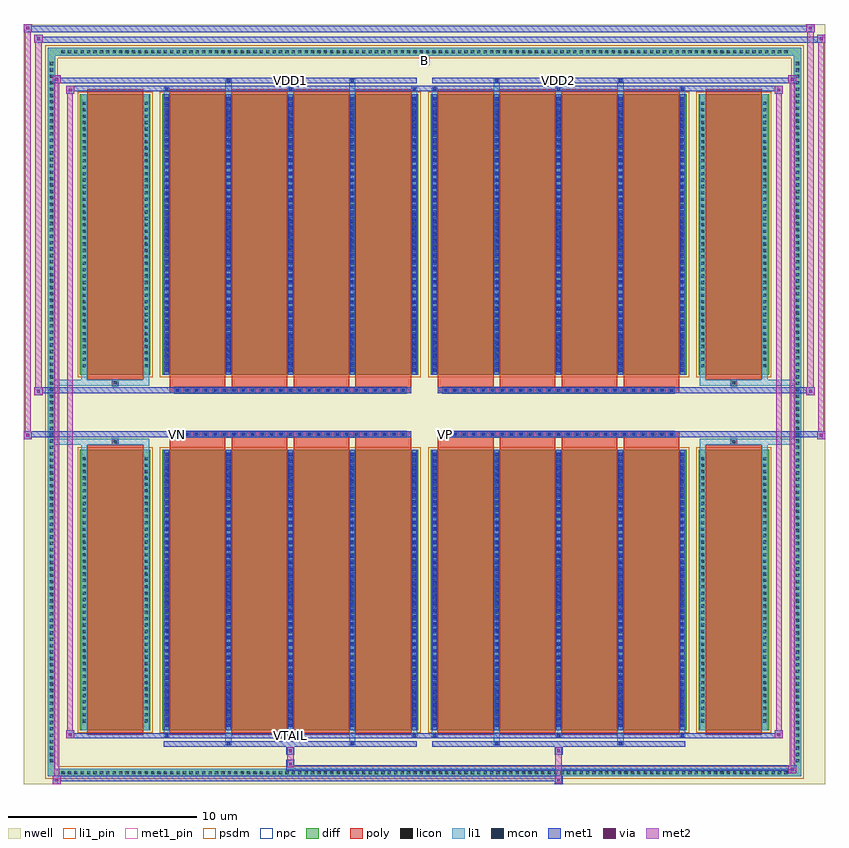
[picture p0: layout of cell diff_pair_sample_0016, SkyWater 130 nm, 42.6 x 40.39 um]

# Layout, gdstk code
import gdstk
lib = gdstk.Library(unit=1e-6, precision=5e-09)
def R(c, l, rs):  # rectangles x0, y0, x1, y1
    for r in rs: c.add(gdstk.rectangle(r[:2], r[2:], *l))
def A(c, l, x, y, w, h, nx, ny, dx, dy):  # array of equal rectangles
    R(c, l, [(x+i*dx, y+j*dy, x+i*dx+w, y+j*dy+h) for i in range(nx) for j in range(ny)])
def P(c, l, *ps):  # polygons
    for p in ps: c.add(gdstk.Polygon(p, *l))
nwell = (64, 20)
diff = (65, 20)
poly = (66, 20)
licon = (66, 44)
li1_pin = (67, 16)
li1 = (67, 20)
mcon = (67, 44)
met1_pin = (68, 16)
met1 = (68, 20)
via = (68, 44)
met2 = (69, 20)
psdm = (94, 20)
npc = (95, 20)

diff_pair_sample_0016 = lib.new_cell('diff_pair_sample_0016')
R(diff_pair_sample_0016, nwell, [(-21.3,-19.76,21.3,20.63), (-18.62,-17.95,-0.01,-0.805), (0.01,-17.95,18.62,-0.805), (-18.62,0.805,-0.01,17.95), (0.01,0.805,18.62,17.95)])
A(diff_pair_sample_0016, diff, -19.415, -19.36, 0.41, 0.41, 114, 2, 0.34, 38.31)
A(diff_pair_sample_0016, diff, -20.03, -18.735, 0.41, 0.41, 1, 110, 0, 0.34)
A(diff_pair_sample_0016, diff, 19.62, -18.735, 0.41, 0.41, 1, 110, 0, 0.34)
R(diff_pair_sample_0016, diff, [(-19.415,-19.36,19.415,-18.95), (-20.03,-18.735,-19.62,18.735), (19.62,-18.735,20.03,18.735), (-18.31,-16.905,-14.57,-1.985), (-13.93,-16.905,-0.32,-1.985), (0.32,-16.905,13.93,-1.985), (14.57,-16.905,18.31,-1.985), (-18.31,1.985,-14.57,16.905), (-13.93,1.985,-0.32,16.905), (0.32,1.985,13.93,16.905), (14.57,1.985,18.31,16.905), (-19.415,18.95,19.415,19.36)])
P(diff_pair_sample_0016, diff, [(20.03,19.36),(-20.03,19.36),(-20.03,-18.95),(-19.62,-18.95),(-19.62,18.95),(19.62,18.95),(19.62,-18.95),(-19.62,-18.95),(-20.03,-18.95),(-20.03,-19.36),(20.03,-19.36)])
A(diff_pair_sample_0016, poly, -13.54, -17.155, 2.96, 15.42, 4, 2, 3.29, 18.89)
A(diff_pair_sample_0016, poly, 0.71, -17.155, 2.96, 15.42, 4, 2, 3.29, 18.89)
A(diff_pair_sample_0016, poly, -13.54, -1.735, 2.96, 0.4, 4, 2, 3.29, 3.07)
A(diff_pair_sample_0016, poly, 0.71, -1.735, 2.96, 0.4, 4, 2, 3.29, 3.07)
A(diff_pair_sample_0016, poly, -13.29, -1.335, 0.33, 0.33, 25, 2, 0.5, 2.34)
A(diff_pair_sample_0016, poly, 0.96, -1.335, 0.33, 0.33, 25, 2, 0.5, 2.34)
R(diff_pair_sample_0016, poly, [(-17.92,-17.155,-14.96,-1.735), (14.96,-17.155,17.92,-1.735), (-16.605,-1.735,-16.275,-1.405), (-16.605,-1.735,-16.275,-1.405), (16.275,-1.735,16.605,-1.405), (16.275,-1.735,16.605,-1.405), (-13.54,-1.335,-0.71,-1.005), (0.71,-1.335,13.54,-1.005), (-13.54,1.005,-0.71,1.335), (0.71,1.005,13.54,1.335), (-16.605,1.405,-16.275,1.735), (-16.605,1.405,-16.275,1.735), (16.275,1.405,16.605,1.735), (16.275,1.405,16.605,1.735), (-17.92,1.735,-14.96,17.155), (14.96,1.735,17.92,17.155)])
A(diff_pair_sample_0016, licon, -19.295, -19.24, 0.17, 0.17, 114, 2, 0.34, 38.31)
A(diff_pair_sample_0016, licon, -19.91, -18.615, 0.17, 0.17, 1, 110, 0, 0.34)
A(diff_pair_sample_0016, licon, 19.74, -18.615, 0.17, 0.17, 1, 110, 0, 0.34)
A(diff_pair_sample_0016, licon, -18.17, -16.5, 0.17, 0.17, 1, 42, 0, 0.34)
A(diff_pair_sample_0016, licon, -14.88, -16.5, 0.17, 0.17, 1, 42, 0, 0.34)
A(diff_pair_sample_0016, licon, -13.79, -16.5, 0.17, 0.17, 5, 42, 3.29, 0.34)
A(diff_pair_sample_0016, licon, 0.46, -16.5, 0.17, 0.17, 5, 42, 3.29, 0.34)
A(diff_pair_sample_0016, licon, 14.71, -16.5, 0.17, 0.17, 1, 42, 0, 0.34)
A(diff_pair_sample_0016, licon, 18, -16.5, 0.17, 0.17, 1, 42, 0, 0.34)
A(diff_pair_sample_0016, licon, -13.21, -1.255, 0.17, 0.17, 25, 2, 0.5, 2.34)
A(diff_pair_sample_0016, licon, 1.04, -1.255, 0.17, 0.17, 25, 2, 0.5, 2.34)
A(diff_pair_sample_0016, licon, -18.17, 2.39, 0.17, 0.17, 1, 42, 0, 0.34)
A(diff_pair_sample_0016, licon, -14.88, 2.39, 0.17, 0.17, 1, 42, 0, 0.34)
A(diff_pair_sample_0016, licon, -13.79, 2.39, 0.17, 0.17, 5, 42, 3.29, 0.34)
A(diff_pair_sample_0016, licon, 0.46, 2.39, 0.17, 0.17, 5, 42, 3.29, 0.34)
A(diff_pair_sample_0016, licon, 14.71, 2.39, 0.17, 0.17, 1, 42, 0, 0.34)
A(diff_pair_sample_0016, licon, 18, 2.39, 0.17, 0.17, 1, 42, 0, 0.34)
R(diff_pair_sample_0016, licon, [(-16.525,-1.655,-16.355,-1.485), (16.355,-1.655,16.525,-1.485), (-16.525,1.485,-16.355,1.655), (16.355,1.485,16.525,1.655)])
R(diff_pair_sample_0016, li1_pin, [(-0.25,18.45,0.25,18.95)])
A(diff_pair_sample_0016, li1, -19.375, -19.32, 0.33, 0.33, 114, 2, 0.34, 38.31)
A(diff_pair_sample_0016, li1, -19.99, -18.695, 0.33, 0.33, 1, 110, 0, 0.34)
A(diff_pair_sample_0016, li1, 19.66, -18.695, 0.33, 0.33, 1, 110, 0, 0.34)
A(diff_pair_sample_0016, li1, -13.87, -17.28, 0.33, 0.375, 3, 2, 6.58, 34.185)
A(diff_pair_sample_0016, li1, -13.79, -17.28, 0.17, 0.17, 3, 2, 6.58, 34.39)
A(diff_pair_sample_0016, li1, 0.38, -17.28, 0.33, 0.375, 3, 2, 6.58, 34.185)
A(diff_pair_sample_0016, li1, 0.46, -17.28, 0.17, 0.17, 3, 2, 6.58, 34.39)
A(diff_pair_sample_0016, li1, -13.87, -16.905, 0.33, 14.92, 5, 2, 3.29, 18.89)
A(diff_pair_sample_0016, li1, 0.38, -16.905, 0.33, 14.92, 5, 2, 3.29, 18.89)
A(diff_pair_sample_0016, li1, -13.79, -16.73, 0.17, 0.17, 5, 41, 3.29, 0.36)
A(diff_pair_sample_0016, li1, -13.79, -16.73, 0.17, 14.57, 5, 2, 3.29, 18.89)
A(diff_pair_sample_0016, li1, 0.46, -16.73, 0.17, 0.17, 5, 41, 3.29, 0.36)
A(diff_pair_sample_0016, li1, 0.46, -16.73, 0.17, 14.57, 5, 2, 3.29, 18.89)
A(diff_pair_sample_0016, li1, -18.25, -16.58, 0.33, 0.33, 1, 42, 0, 0.34)
A(diff_pair_sample_0016, li1, -14.96, -16.58, 0.33, 0.33, 1, 42, 0, 0.34)
A(diff_pair_sample_0016, li1, -13.87, -16.58, 0.33, 0.33, 5, 42, 3.29, 0.34)
A(diff_pair_sample_0016, li1, 0.38, -16.58, 0.33, 0.33, 5, 42, 3.29, 0.34)
A(diff_pair_sample_0016, li1, 14.63, -16.58, 0.33, 0.33, 1, 42, 0, 0.34)
A(diff_pair_sample_0016, li1, 17.92, -16.58, 0.33, 0.33, 1, 42, 0, 0.34)
A(diff_pair_sample_0016, li1, -13.29, -1.335, 0.33, 0.33, 25, 2, 0.5, 2.34)
A(diff_pair_sample_0016, li1, 0.96, -1.335, 0.33, 0.33, 25, 2, 0.5, 2.34)
A(diff_pair_sample_0016, li1, -13.79, 2.16, 0.17, 0.17, 5, 41, 3.29, 0.36)
A(diff_pair_sample_0016, li1, 0.46, 2.16, 0.17, 0.17, 5, 41, 3.29, 0.36)
A(diff_pair_sample_0016, li1, -18.25, 2.31, 0.33, 0.33, 1, 42, 0, 0.34)
A(diff_pair_sample_0016, li1, -14.96, 2.31, 0.33, 0.33, 1, 42, 0, 0.34)
A(diff_pair_sample_0016, li1, -13.87, 2.31, 0.33, 0.33, 5, 42, 3.29, 0.34)
A(diff_pair_sample_0016, li1, 0.38, 2.31, 0.33, 0.33, 5, 42, 3.29, 0.34)
A(diff_pair_sample_0016, li1, 14.63, 2.31, 0.33, 0.33, 1, 42, 0, 0.34)
A(diff_pair_sample_0016, li1, 17.92, 2.31, 0.33, 0.33, 1, 42, 0, 0.34)
R(diff_pair_sample_0016, li1, [(-20.03,-19.36,-19.62,-18.95), (-20.03,-19.36,-19.62,-18.95), (-19.62,-19.36,19.62,-18.95), (19.62,-19.36,20.03,-18.95), (19.62,-19.36,20.03,-18.95), (-20.03,-18.95,-19.62,18.95), (19.62,-18.95,20.03,18.95), (-10.58,-17.71,-10.25,-16.905), (-10.5,-17.71,-10.33,-17.54), (-4,-17.71,-3.67,-16.905), (-3.92,-17.71,-3.75,-17.54), (3.67,-17.71,4,-16.905), (3.75,-17.71,3.92,-17.54), (10.25,-17.71,10.58,-16.905), (10.33,-17.71,10.5,-17.54), (-18.25,-16.905,-17.92,-1.985), (-14.96,-16.905,-14.63,-1.985), (14.63,-16.905,14.96,-1.985), (17.92,-16.905,18.25,-1.985), (-18.25,-1.985,-17.92,-1.405), (-14.96,-1.985,-14.63,-1.405), (14.63,-1.985,14.96,-1.405), (17.92,-1.985,18.25,-1.405), (-20.03,-1.735,-16.605,-1.405), (-18.25,-1.735,-16.605,-1.405), (-16.605,-1.735,-16.275,-1.405), (-16.275,-1.735,-14.63,-1.405), (14.63,-1.735,16.275,-1.405), (16.275,-1.735,16.605,-1.405), (16.275,-1.735,20.03,-1.405), (16.605,-1.735,18.25,-1.405), (-20.03,1.405,-16.605,1.735), (-18.25,1.405,-16.605,1.735), (-18.25,1.405,-17.92,1.985), (-16.605,1.405,-16.275,1.735), (-16.275,1.405,-14.63,1.735), (-14.96,1.405,-14.63,1.985), (14.63,1.405,16.275,1.735), (14.63,1.405,14.96,1.985), (16.275,1.405,16.605,1.735), (16.275,1.405,20.03,1.735), (16.605,1.405,18.25,1.735), (17.92,1.405,18.25,1.985), (-18.25,1.985,-17.92,16.905), (-14.96,1.985,-14.63,16.905), (14.63,1.985,14.96,16.905), (17.92,1.985,18.25,16.905), (-10.58,16.905,-10.25,17.71), (-4,16.905,-3.67,17.71), (3.67,16.905,4,17.71), (10.25,16.905,10.58,17.71), (-10.5,17.54,-10.33,17.71), (-3.92,17.54,-3.75,17.71), (3.75,17.54,3.92,17.71), (10.33,17.54,10.5,17.71), (-20.03,18.95,-19.62,19.36), (-20.03,18.95,-19.62,19.36), (-19.62,18.95,19.62,19.36), (19.62,18.95,20.03,19.36), (19.62,18.95,20.03,19.36)])
A(diff_pair_sample_0016, mcon, -13.79, -17.28, 0.17, 0.17, 3, 2, 6.58, 34.39)
A(diff_pair_sample_0016, mcon, 0.46, -17.28, 0.17, 0.17, 3, 2, 6.58, 34.39)
A(diff_pair_sample_0016, mcon, -13.79, -16.73, 0.17, 0.17, 5, 41, 3.29, 0.36)
A(diff_pair_sample_0016, mcon, 0.46, -16.73, 0.17, 0.17, 5, 41, 3.29, 0.36)
A(diff_pair_sample_0016, mcon, -13.21, -1.255, 0.17, 0.17, 25, 2, 0.5, 2.34)
A(diff_pair_sample_0016, mcon, 1.04, -1.255, 0.17, 0.17, 25, 2, 0.5, 2.34)
A(diff_pair_sample_0016, mcon, -13.79, 2.16, 0.17, 0.17, 5, 41, 3.29, 0.36)
A(diff_pair_sample_0016, mcon, 0.46, 2.16, 0.17, 0.17, 5, 41, 3.29, 0.36)
R(diff_pair_sample_0016, mcon, [(-10.5,-17.71,-10.33,-17.54), (-3.92,-17.71,-3.75,-17.54), (3.75,-17.71,3.92,-17.54), (10.33,-17.71,10.5,-17.54), (-10.5,17.54,-10.33,17.71), (-3.92,17.54,-3.75,17.71), (3.75,17.54,3.92,17.71), (10.33,17.54,10.5,17.71)])
R(diff_pair_sample_0016, met1_pin, [(-7.26,-17.32,-6.99,-17.05), (-13.26,-1.295,-12.99,-1.025), (0.99,-1.295,1.26,-1.025), (-7.26,17.5,-6.99,17.77), (6.99,17.5,7.26,17.77)])
A(diff_pair_sample_0016, met1, -13.85, -17.34, 0.29, 0.29, 3, 2, 6.58, 34.39)
A(diff_pair_sample_0016, met1, 0.4, -17.34, 0.29, 0.29, 3, 2, 6.58, 34.39)
A(diff_pair_sample_0016, met1, -13.85, -16.905, 0.29, 14.92, 5, 2, 3.29, 18.89)
A(diff_pair_sample_0016, met1, 0.4, -16.905, 0.29, 14.92, 5, 2, 3.29, 18.89)
A(diff_pair_sample_0016, met1, -13.85, -16.79, 0.29, 0.29, 5, 41, 3.29, 0.36)
A(diff_pair_sample_0016, met1, 0.4, -16.79, 0.29, 0.29, 5, 41, 3.29, 0.36)
A(diff_pair_sample_0016, met1, -13.27, -1.315, 0.29, 0.29, 25, 2, 0.5, 2.34)
A(diff_pair_sample_0016, met1, 0.98, -1.315, 0.29, 0.29, 25, 2, 0.5, 2.34)
A(diff_pair_sample_0016, met1, -13.85, 2.1, 0.29, 0.29, 5, 41, 3.29, 0.36)
A(diff_pair_sample_0016, met1, 0.4, 2.1, 0.29, 0.29, 5, 41, 3.29, 0.36)
R(diff_pair_sample_0016, met1, [(-19.76,-19.76,-19.33,-19.33), (6.91,-19.76,7.34,-19.33), (-19.76,-19.62,7.34,-19.33), (19.33,-19.19,19.76,-18.76), (-7.34,-19.05,19.76,-18.76), (-7.34,-18.91,-6.91,-18.48), (-7.34,-18.2,-6.91,-17.77), (6.91,-18.2,7.34,-17.77), (-13.85,-17.77,-0.4,-17.48), (-10.56,-17.77,-10.27,-17.48), (-3.98,-17.77,-3.69,-17.48), (0.4,-17.77,13.85,-17.48), (3.69,-17.77,3.98,-17.48), (10.27,-17.77,10.56,-17.48), (-19.05,-17.34,-18.62,-16.91), (-19.05,-17.34,-13.85,-17.05), (-13.85,-17.34,-0.4,-17.05), (-0.4,-17.34,0.4,-17.05), (0.4,-17.34,13.85,-17.05), (13.85,-17.34,19.05,-17.05), (18.62,-17.34,19.05,-16.91), (-21.3,-1.435,-20.87,-1.005), (20.87,-1.435,21.3,-1.005), (-21.3,-1.335,-0.71,-1.005), (-13.54,-1.335,-0.71,-1.005), (0.71,-1.335,13.54,-1.005), (0.71,-1.335,21.3,-1.005), (-20.73,0.905,-20.3,1.335), (20.3,0.905,20.73,1.335), (-20.73,1.005,-13.54,1.335), (-13.54,1.005,-0.71,1.335), (0.71,1.005,13.54,1.335), (13.54,1.005,20.73,1.335), (-19.05,16.91,-18.62,17.34), (18.62,16.91,19.05,17.34), (-19.05,17.05,-13.85,17.34), (-13.85,17.05,-0.4,17.34), (-0.4,17.05,0.4,17.34), (0.4,17.05,13.85,17.34), (13.85,17.05,19.05,17.34), (-19.76,17.48,-19.33,17.91), (-19.76,17.48,-13.85,17.77), (-13.85,17.48,-0.4,17.77), (-10.56,17.48,-10.27,17.77), (-3.98,17.48,-3.69,17.77), (0.4,17.48,13.85,17.77), (3.69,17.48,3.98,17.77), (10.27,17.48,10.56,17.77), (13.85,17.48,19.76,17.77), (19.33,17.48,19.76,17.91), (-20.73,19.63,-20.3,20.06), (-20.73,19.63,-18.62,19.96), (-18.62,19.63,18.62,19.96), (18.62,19.63,21.3,19.96), (20.87,19.63,21.3,20.06), (-21.3,20.2,-20.87,20.63), (-21.3,20.2,-18.62,20.53), (-18.62,20.2,18.62,20.53), (18.62,20.2,20.73,20.53), (20.3,20.2,20.73,20.63)])
R(diff_pair_sample_0016, via, [(-19.62,-19.62,-19.47,-19.47), (7.05,-19.62,7.2,-19.47), (19.47,-19.05,19.62,-18.9), (-7.2,-18.77,-7.05,-18.62), (-7.2,-18.06,-7.05,-17.91), (7.05,-18.06,7.2,-17.91), (-18.91,-17.2,-18.76,-17.05), (18.76,-17.2,18.91,-17.05), (-21.16,-1.295,-21.01,-1.145), (21.01,-1.295,21.16,-1.145), (-20.59,1.045,-20.44,1.195), (20.44,1.045,20.59,1.195), (-18.91,17.05,-18.76,17.2), (18.76,17.05,18.91,17.2), (-19.62,17.62,-19.47,17.77), (19.47,17.62,19.62,17.77), (-20.59,19.77,-20.44,19.92), (21.01,19.77,21.16,19.92), (-21.16,20.34,-21.01,20.49), (20.44,20.34,20.59,20.49)])
R(diff_pair_sample_0016, met2, [(-19.76,-19.76,-19.33,-19.33), (-19.69,-19.76,-19.4,17.91), (-19.4,-19.76,-19.33,-19.33), (-19.71,-19.71,-19.38,-19.38), (6.96,-19.71,7.29,-19.38), (6.96,-19.38,7.29,-18.15), (19.33,-19.19,19.76,-18.76), (19.4,-19.19,19.69,17.91), (19.69,-19.19,19.76,-18.76), (19.38,-19.14,19.71,-18.81), (-7.29,-18.86,-6.96,-18.53), (-7.29,-18.53,-6.96,-18.15), (-7.29,-18.15,-6.96,-17.82), (6.96,-18.15,7.29,-17.82), (-19.05,-17.34,-18.62,-16.91), (-18.98,-17.34,-18.69,17.34), (-18.69,-17.34,-18.62,-16.91), (18.62,-17.34,19.05,-16.91), (18.69,-17.34,18.98,17.34), (18.98,-17.34,19.05,-16.91), (-19,-17.29,-18.67,-16.96), (18.67,-17.29,19,-16.96), (-21.3,-1.435,-20.87,-1.005), (-21.25,-1.435,-20.92,20.63), (-20.92,-1.435,-20.87,-1.005), (20.87,-1.435,21.3,-1.005), (20.92,-1.435,21.25,20.06), (21.25,-1.435,21.3,-1.005), (-21.25,-1.385,-20.92,-1.055), (20.92,-1.385,21.25,-1.055), (-20.73,0.905,-20.3,1.335), (-20.68,0.905,-20.35,20.06), (-20.35,0.905,-20.3,1.335), (20.3,0.905,20.73,1.335), (20.35,0.905,20.68,20.63), (20.68,0.905,20.73,1.335), (-20.68,0.955,-20.35,1.285), (20.35,0.955,20.68,1.285), (-19.05,16.91,-18.62,17.34), (-18.69,16.91,-18.62,17.34), (18.62,16.91,19.05,17.34), (18.98,16.91,19.05,17.34), (-19,16.96,-18.67,17.29), (18.67,16.96,19,17.29), (-19.76,17.48,-19.33,17.91), (-19.4,17.48,-19.33,17.91), (19.33,17.48,19.76,17.91), (19.69,17.48,19.76,17.91), (-19.71,17.53,-19.38,17.86), (19.38,17.53,19.71,17.86), (-20.73,19.63,-20.3,20.06), (-20.35,19.63,-20.3,20.06), (20.87,19.63,21.3,20.06), (21.25,19.63,21.3,20.06), (-20.68,19.68,-20.35,20.01), (20.92,19.68,21.25,20.01), (-21.3,20.2,-20.87,20.63), (-20.92,20.2,-20.87,20.63), (20.3,20.2,20.73,20.63), (20.68,20.2,20.73,20.63), (-21.25,20.25,-20.92,20.58), (20.35,20.25,20.68,20.58)])
R(diff_pair_sample_0016, psdm, [(-18.44,-17.035,-14.44,-1.855), (-14.06,-17.035,-0.19,-1.855), (0.19,-17.035,14.06,-1.855), (14.44,-17.035,18.44,-1.855), (-18.44,1.855,-14.44,17.035), (-14.06,1.855,-0.19,17.035), (0.19,1.855,14.06,17.035), (14.44,1.855,18.44,17.035)])
P(diff_pair_sample_0016, psdm, [(20.16,19.49),(-20.16,19.49),(-20.16,-18.82),(-19.49,-18.82),(-19.49,18.82),(19.49,18.82),(19.49,-18.82),(-19.49,-18.82),(-20.16,-18.82),(-20.16,-19.49),(20.16,-19.49)])
A(diff_pair_sample_0016, npc, -13.31, -1.355, 0.37, 0.37, 25, 2, 0.5, 2.34)
A(diff_pair_sample_0016, npc, 0.94, -1.355, 0.37, 0.37, 25, 2, 0.5, 2.34)
R(diff_pair_sample_0016, npc, [(-16.625,-1.755,-16.255,-1.385), (16.255,-1.755,16.625,-1.385), (-13.31,-1.355,-12.44,-0.985), (-13.31,-1.355,-12.44,-0.985), (-12.81,-1.355,-11.94,-0.985), (-12.81,-1.355,-11.94,-0.985), (-12.31,-1.355,-11.44,-0.985), (-12.31,-1.355,-11.44,-0.985), (-11.81,-1.355,-10.94,-0.985), (-11.81,-1.355,-10.94,-0.985), (-11.31,-1.355,-10.44,-0.985), (-11.31,-1.355,-10.44,-0.985), (-10.81,-1.355,-9.94,-0.985), (-10.81,-1.355,-9.94,-0.985), (-10.31,-1.355,-9.44,-0.985), (-10.31,-1.355,-9.44,-0.985), (-9.81,-1.355,-8.94,-0.985), (-9.81,-1.355,-8.94,-0.985), (-9.31,-1.355,-8.44,-0.985), (-9.31,-1.355,-8.44,-0.985), (-8.81,-1.355,-7.94,-0.985), (-8.81,-1.355,-7.94,-0.985), (-8.31,-1.355,-7.44,-0.985), (-8.31,-1.355,-7.44,-0.985), (-7.81,-1.355,-6.94,-0.985), (-7.81,-1.355,-6.94,-0.985), (-7.31,-1.355,-6.44,-0.985), (-7.31,-1.355,-6.44,-0.985), (-6.81,-1.355,-5.94,-0.985), (-6.81,-1.355,-5.94,-0.985), (-6.31,-1.355,-5.44,-0.985), (-6.31,-1.355,-5.44,-0.985), (-5.81,-1.355,-4.94,-0.985), (-5.81,-1.355,-4.94,-0.985), (-5.31,-1.355,-4.44,-0.985), (-5.31,-1.355,-4.44,-0.985), (-4.81,-1.355,-3.94,-0.985), (-4.81,-1.355,-3.94,-0.985), (-4.31,-1.355,-3.44,-0.985), (-4.31,-1.355,-3.44,-0.985), (-3.81,-1.355,-2.94,-0.985), (-3.81,-1.355,-2.94,-0.985), (-3.31,-1.355,-2.44,-0.985), (-3.31,-1.355,-2.44,-0.985), (-2.81,-1.355,-1.94,-0.985), (-2.81,-1.355,-1.94,-0.985), (-2.31,-1.355,-1.44,-0.985), (-2.31,-1.355,-1.44,-0.985), (-1.81,-1.355,-0.94,-0.985), (-1.81,-1.355,-0.94,-0.985), (0.94,-1.355,1.81,-0.985), (0.94,-1.355,1.81,-0.985), (1.44,-1.355,2.31,-0.985), (1.44,-1.355,2.31,-0.985), (1.94,-1.355,2.81,-0.985), (1.94,-1.355,2.81,-0.985), (2.44,-1.355,3.31,-0.985), (2.44,-1.355,3.31,-0.985), (2.94,-1.355,3.81,-0.985), (2.94,-1.355,3.81,-0.985), (3.44,-1.355,4.31,-0.985), (3.44,-1.355,4.31,-0.985), (3.94,-1.355,4.81,-0.985), (3.94,-1.355,4.81,-0.985), (4.44,-1.355,5.31,-0.985), (4.44,-1.355,5.31,-0.985), (4.94,-1.355,5.81,-0.985), (4.94,-1.355,5.81,-0.985), (5.44,-1.355,6.31,-0.985), (5.44,-1.355,6.31,-0.985), (5.94,-1.355,6.81,-0.985), (5.94,-1.355,6.81,-0.985), (6.44,-1.355,7.31,-0.985), (6.44,-1.355,7.31,-0.985), (6.94,-1.355,7.81,-0.985), (6.94,-1.355,7.81,-0.985), (7.44,-1.355,8.31,-0.985), (7.44,-1.355,8.31,-0.985), (7.94,-1.355,8.81,-0.985), (7.94,-1.355,8.81,-0.985), (8.44,-1.355,9.31,-0.985), (8.44,-1.355,9.31,-0.985), (8.94,-1.355,9.81,-0.985), (8.94,-1.355,9.81,-0.985), (9.44,-1.355,10.31,-0.985), (9.44,-1.355,10.31,-0.985), (9.94,-1.355,10.81,-0.985), (9.94,-1.355,10.81,-0.985), (10.44,-1.355,11.31,-0.985), (10.44,-1.355,11.31,-0.985), (10.94,-1.355,11.81,-0.985), (10.94,-1.355,11.81,-0.985), (11.44,-1.355,12.31,-0.985), (11.44,-1.355,12.31,-0.985), (11.94,-1.355,12.81,-0.985), (11.94,-1.355,12.81,-0.985), (12.44,-1.355,13.31,-0.985), (12.44,-1.355,13.31,-0.985), (-13.31,0.985,-12.44,1.355), (-13.31,0.985,-12.44,1.355), (-12.81,0.985,-11.94,1.355), (-12.81,0.985,-11.94,1.355), (-12.31,0.985,-11.44,1.355), (-12.31,0.985,-11.44,1.355), (-11.81,0.985,-10.94,1.355), (-11.81,0.985,-10.94,1.355), (-11.31,0.985,-10.44,1.355), (-11.31,0.985,-10.44,1.355), (-10.81,0.985,-9.94,1.355), (-10.81,0.985,-9.94,1.355), (-10.31,0.985,-9.44,1.355), (-10.31,0.985,-9.44,1.355), (-9.81,0.985,-8.94,1.355), (-9.81,0.985,-8.94,1.355), (-9.31,0.985,-8.44,1.355), (-9.31,0.985,-8.44,1.355), (-8.81,0.985,-7.94,1.355), (-8.81,0.985,-7.94,1.355), (-8.31,0.985,-7.44,1.355), (-8.31,0.985,-7.44,1.355), (-7.81,0.985,-6.94,1.355), (-7.81,0.985,-6.94,1.355), (-7.31,0.985,-6.44,1.355), (-7.31,0.985,-6.44,1.355), (-6.81,0.985,-5.94,1.355), (-6.81,0.985,-5.94,1.355), (-6.31,0.985,-5.44,1.355), (-6.31,0.985,-5.44,1.355), (-5.81,0.985,-4.94,1.355), (-5.81,0.985,-4.94,1.355), (-5.31,0.985,-4.44,1.355), (-5.31,0.985,-4.44,1.355), (-4.81,0.985,-3.94,1.355), (-4.81,0.985,-3.94,1.355), (-4.31,0.985,-3.44,1.355), (-4.31,0.985,-3.44,1.355), (-3.81,0.985,-2.94,1.355), (-3.81,0.985,-2.94,1.355), (-3.31,0.985,-2.44,1.355), (-3.31,0.985,-2.44,1.355), (-2.81,0.985,-1.94,1.355), (-2.81,0.985,-1.94,1.355), (-2.31,0.985,-1.44,1.355), (-2.31,0.985,-1.44,1.355), (-1.81,0.985,-0.94,1.355), (-1.81,0.985,-0.94,1.355), (0.94,0.985,1.81,1.355), (0.94,0.985,1.81,1.355), (1.44,0.985,2.31,1.355), (1.44,0.985,2.31,1.355), (1.94,0.985,2.81,1.355), (1.94,0.985,2.81,1.355), (2.44,0.985,3.31,1.355), (2.44,0.985,3.31,1.355), (2.94,0.985,3.81,1.355), (2.94,0.985,3.81,1.355), (3.44,0.985,4.31,1.355), (3.44,0.985,4.31,1.355), (3.94,0.985,4.81,1.355), (3.94,0.985,4.81,1.355), (4.44,0.985,5.31,1.355), (4.44,0.985,5.31,1.355), (4.94,0.985,5.81,1.355), (4.94,0.985,5.81,1.355), (5.44,0.985,6.31,1.355), (5.44,0.985,6.31,1.355), (5.94,0.985,6.81,1.355), (5.94,0.985,6.81,1.355), (6.44,0.985,7.31,1.355), (6.44,0.985,7.31,1.355), (6.94,0.985,7.81,1.355), (6.94,0.985,7.81,1.355), (7.44,0.985,8.31,1.355), (7.44,0.985,8.31,1.355), (7.94,0.985,8.81,1.355), (7.94,0.985,8.81,1.355), (8.44,0.985,9.31,1.355), (8.44,0.985,9.31,1.355), (8.94,0.985,9.81,1.355), (8.94,0.985,9.81,1.355), (9.44,0.985,10.31,1.355), (9.44,0.985,10.31,1.355), (9.94,0.985,10.81,1.355), (9.94,0.985,10.81,1.355), (10.44,0.985,11.31,1.355), (10.44,0.985,11.31,1.355), (10.94,0.985,11.81,1.355), (10.94,0.985,11.81,1.355), (11.44,0.985,12.31,1.355), (11.44,0.985,12.31,1.355), (11.94,0.985,12.81,1.355), (11.94,0.985,12.81,1.355), (12.44,0.985,13.31,1.355), (12.44,0.985,13.31,1.355), (-16.625,1.385,-16.255,1.755), (16.255,1.385,16.625,1.755)])
diff_pair_sample_0016.add(gdstk.Label('VTAIL', (-7.125,-17.185), layer=68, texttype=5))
diff_pair_sample_0016.add(gdstk.Label('VN', (-13.125,-1.16), layer=68, texttype=5))
diff_pair_sample_0016.add(gdstk.Label('VP', (1.125,-1.16), layer=68, texttype=5))
diff_pair_sample_0016.add(gdstk.Label('B', (0,18.7), layer=67, texttype=5))
diff_pair_sample_0016.add(gdstk.Label('VDD2', (7.125,17.635), layer=68, texttype=5))
diff_pair_sample_0016.add(gdstk.Label('VDD1', (-7.125,17.635), layer=68, texttype=5))

lib.write_gds('diff_pair_sample_0016.gds')
